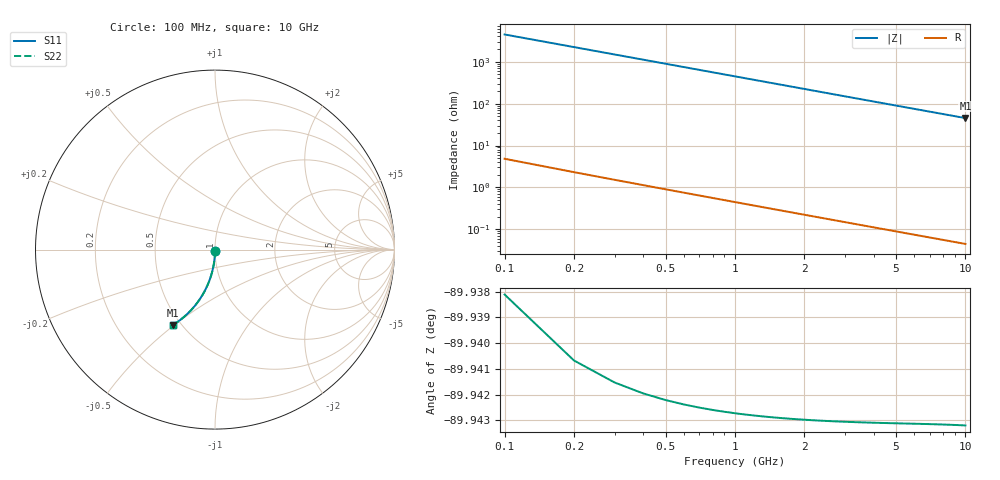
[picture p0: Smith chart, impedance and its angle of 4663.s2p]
# Hz S RI R 50.00
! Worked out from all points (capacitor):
!   100 points, 100 MHz to 10 GHz, reference 50 ohm
!   read as one part in shunt: C = 356 fF near 100 MHz
!   lowest |Z| = 45.2 ohm at 10 GHz (marker M1)
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1e8  -3.09e-05 -0.00556  1 -0.00562  1 -0.00562  -3.09e-05 -0.00556
2e8  -0.00013 -0.0111  0.9999 -0.0112  0.9999 -0.0112  -0.00013 -0.0111
3e8  -0.000292 -0.0167  0.9997 -0.0169  0.9997 -0.0169  -0.000292 -0.0167
4e8  -0.000516 -0.0222  0.9995 -0.0225  0.9995 -0.0225  -0.000516 -0.0222
5e8  -0.000803 -0.0278  0.9992 -0.0281  0.9992 -0.0281  -0.000803 -0.0278
6e8  -0.00115 -0.0333  0.9988 -0.0337  0.9988 -0.0337  -0.00115 -0.0333
7e8  -0.00156 -0.0389  0.9984 -0.0393  0.9984 -0.0393  -0.00156 -0.0389
8e8  -0.00204 -0.0444  0.998 -0.0449  0.998 -0.0449  -0.00204 -0.0444
9e8  -0.00257 -0.0499  0.9974 -0.0505  0.9974 -0.0505  -0.00257 -0.0499
1.1e9  -0.00382 -0.0609  0.9962 -0.0616  0.9962 -0.0616  -0.00382 -0.0609
1.4e9  -0.00616 -0.0773  0.9938 -0.0782  0.9938 -0.0782  -0.00616 -0.0773
1.8e9  -0.0101 -0.099  0.9899 -0.1001  0.9899 -0.1001  -0.0101 -0.099
2.1e9  -0.0137 -0.115  0.9863 -0.1163  0.9863 -0.1163  -0.0137 -0.115
2.5e9  -0.0192 -0.1361  0.9807 -0.1377  0.9807 -0.1377  -0.0192 -0.1361
2.9e9  -0.0257 -0.1568  0.9743 -0.1586  0.9743 -0.1586  -0.0257 -0.1568
3.4e9  -0.0349 -0.182  0.9651 -0.1841  0.9651 -0.1841  -0.0349 -0.182
4.2e9  -0.0521 -0.2205  0.9478 -0.2231  0.9478 -0.2231  -0.0521 -0.2205
5.1e9  -0.0748 -0.2611  0.9251 -0.2642  0.9251 -0.2642  -0.0748 -0.2611
5.9e9  -0.0975 -0.2943  0.9025 -0.298  0.9025 -0.298  -0.0975 -0.2943
6.7e9  -0.122 -0.3248  0.8779 -0.3289  0.8779 -0.3289  -0.122 -0.3248
8.4e9  -0.1788 -0.38  0.8212 -0.3853  0.8212 -0.3853  -0.1788 -0.38
1e10  -0.2352 -0.4205  0.7648 -0.4268  0.7648 -0.4268  -0.2352 -0.4205
